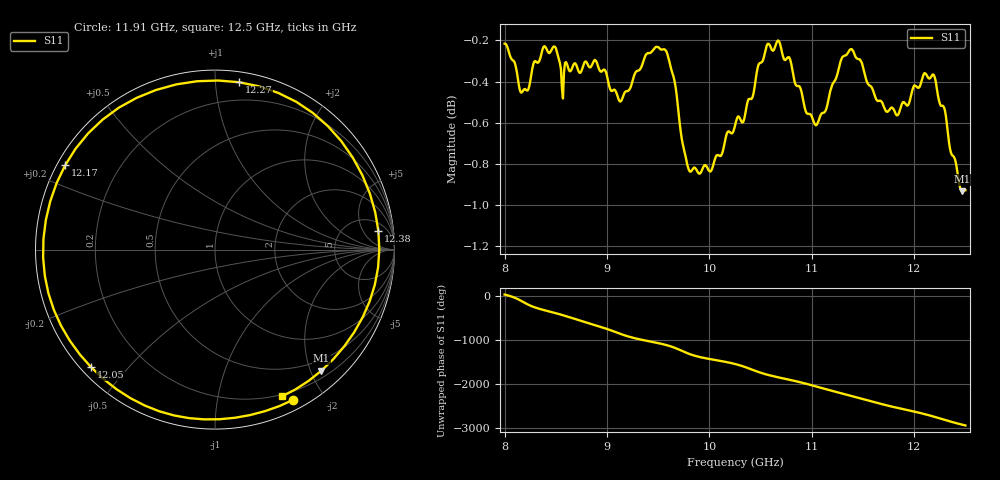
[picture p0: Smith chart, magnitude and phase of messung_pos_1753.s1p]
#  HZ  S  RI  R  50.00
! Rohde & Schwarz Vector Network Analyzer
! Rohde-Schwarz,ZNA43-4Port,1332450044101932,2.92
! Created: UTC 6/1/2026, 11:34:23 AM
! freq[Hz]  re:S11  im:S11
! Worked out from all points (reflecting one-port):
!   451 points, 8 GHz to 12.5 GHz, reference 50 ohm
!   lowest |S11| = -0.9 dB at 12.47 GHz (marker M1), VSWR 18.61, Z = 15.6 - j109 ohm
!   phase of S11 starts at 41 deg and turns -2987 deg over the sweep
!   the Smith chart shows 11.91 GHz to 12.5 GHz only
!   S11 on the Smith chart (normalised r, x): 11.91 GHz: 0.11, -1.65; 12.05 GHz: 0.03, -0.40; 12.17 GHz: 0.02, +0.26; 12.27 GHz: 0.07, +1.15; 12.38 GHz: 9, +11; 12.5 GHz: 0.18, -1.54
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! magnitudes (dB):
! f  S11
! 8 GHz  -0.2
! 8.17 GHz  -0.5
! 8.39 GHz  -0.2
! 8.5 GHz  -0.2
! 8.57 GHz  -0.5
! 8.89 GHz  -0.3
! 9.13 GHz  -0.5
! 9.49 GHz  -0.2
! 9.59 GHz  -0.3
! 9.69 GHz  -0.5
! 9.81 GHz  -0.8
! 10.01 GHz  -0.8
! 10.25 GHz  -0.6
! 10.33 GHz  -0.6
! 10.57 GHz  -0.2
! 10.68 GHz  -0.2
! 10.82 GHz  -0.4
! 11.04 GHz  -0.6
! 11.38 GHz  -0.2
! 11.72 GHz  -0.5
! 11.91 GHz  -0.5
! 11.94 GHz  -0.5
! 12.05 GHz  -0.4
! 12.17 GHz  -0.4
! 12.27 GHz  -0.5
! 12.38 GHz  -0.8
! 12.47 GHz  -0.9
! 12.5 GHz  -0.9
